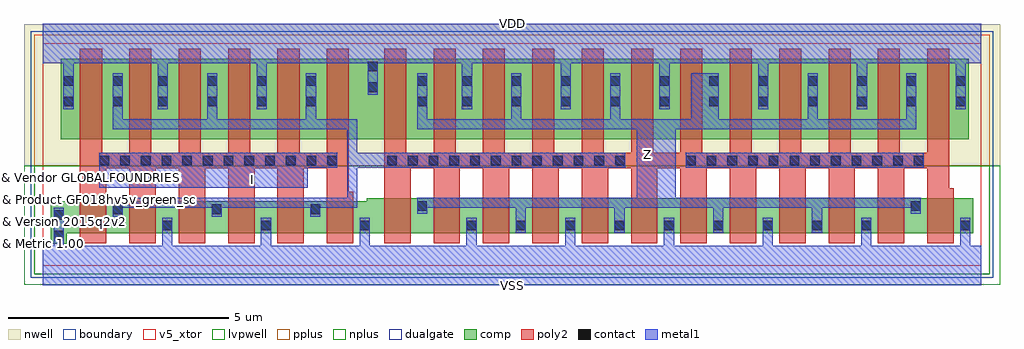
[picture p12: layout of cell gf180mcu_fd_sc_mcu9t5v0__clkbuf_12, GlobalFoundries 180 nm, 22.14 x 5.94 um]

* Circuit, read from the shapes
.subckt gf180mcu_fd_sc_mcu9t5v0__clkbuf_12 I VDD VSS Z
XM1 n1 I VSS VSUBS nfet_05v0 w=0.73u l=0.6u m=6
XM2 Z n1 VSS VSUBS nfet_05v0 w=0.8u l=0.6u m=12
XM3 n1 I VDD n2 pfet_05v0 w=1.83u l=0.5u m=6
XM4 Z n1 VDD n2 pfet_05v0 w=1.83u l=0.5u m=12
.ends

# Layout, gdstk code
import gdstk
lib = gdstk.Library(unit=1e-6, precision=1e-09)
def R(c, l, rs):  # rectangles x0, y0, x1, y1
    for r in rs: c.add(gdstk.rectangle(r[:2], r[2:], *l))
def P(c, l, *ps):  # polygons
    for p in ps: c.add(gdstk.Polygon(p, *l))
boundary = (0, 0)
nwell = (21, 0)
comp = (22, 0)
poly2 = (30, 0)
pplus = (31, 0)
nplus = (32, 0)
contact = (33, 0)
metal1 = (34, 0)
dualgate = (55, 0)
v5_xtor = (112, 1)
lvpwell = (204, 0)

gf180mcu_fd_sc_mcu9t5v0_ = lib.new_cell('gf180mcu_fd_sc_mcu9t5v0__clkbuf_12')
R(gf180mcu_fd_sc_mcu9t5v0_, boundary, [(0,0,21.28,5.04), (0,0,21.28,5.04)])
R(gf180mcu_fd_sc_mcu9t5v0_, nwell, [(-0.43,2.265,21.71,5.47), (-0.43,2.265,21.71,5.47)])
R(gf180mcu_fd_sc_mcu9t5v0_, comp, [(0.4,2.865,21,4.695), (0.4,2.865,21,4.695)])
P(gf180mcu_fd_sc_mcu9t5v0_, comp, [(0.18,0.495),(0.18,1.46),(7.34,1.46),(7.34,1.53),(21.1,1.53),(21.1,0.73),(0.54,0.73),(0.54,0.495)],
  [(0.18,0.495),(0.18,1.46),(7.34,1.46),(7.34,1.53),(21.1,1.53),(21.1,0.73),(0.54,0.73),(0.54,0.495)])
P(gf180mcu_fd_sc_mcu9t5v0_, poly2, [(0.84,0.51),(0.84,4.915),(1.34,4.915),(1.34,2.565),(1.96,2.565),(1.96,4.915),(2.46,4.915),(2.46,2.565),(3.08,2.565),(3.08,4.915),(3.58,4.915),(3.58,2.565),(4.2,2.565),(4.2,4.915),(4.7,4.915),(4.7,2.565),(5.32,2.565),(5.32,4.915),(5.82,4.915),(5.82,2.565),(6.44,2.565),(6.44,4.915),(6.94,4.915),(6.94,1.68),(7.04,1.68),(7.04,0.51),(6.44,0.51),(6.44,2.205),(5.92,2.205),(5.92,0.51),(5.32,0.51),(5.32,2.205),(4.8,2.205),(4.8,0.51),(4.2,0.51),(4.2,2.205),(3.68,2.205),(3.68,0.51),(3.08,0.51),(3.08,2.205),(2.56,2.205),(2.56,0.51),(1.96,0.51),(1.96,2.205),(1.44,2.205),(1.44,0.51)],
  [(7.74,0.51),(7.74,4.915),(8.24,4.915),(8.24,2.565),(8.86,2.565),(8.86,4.915),(9.36,4.915),(9.36,2.565),(9.98,2.565),(9.98,4.915),(10.48,4.915),(10.48,2.565),(11.1,2.565),(11.1,4.915),(11.6,4.915),(11.6,2.565),(12.22,2.565),(12.22,4.915),(12.72,4.915),(12.72,2.565),(13.34,2.565),(13.34,4.915),(13.84,4.915),(13.84,2.565),(14.46,2.565),(14.46,4.915),(14.96,4.915),(14.96,2.565),(15.58,2.565),(15.58,4.915),(16.08,4.915),(16.08,2.565),(16.7,2.565),(16.7,4.915),(17.2,4.915),(17.2,2.565),(17.82,2.565),(17.82,4.915),(18.32,4.915),(18.32,2.565),(18.94,2.565),(18.94,4.915),(19.44,4.915),(19.44,2.565),(20.06,2.565),(20.06,4.915),(20.56,4.915),(20.56,1.75),(20.66,1.75),(20.66,0.51),(20.06,0.51),(20.06,2.205),(19.54,2.205),(19.54,0.51),(18.94,0.51),(18.94,2.205),(18.42,2.205),(18.42,0.51),(17.82,0.51),(17.82,2.205),(17.3,2.205),(17.3,0.51),(16.7,0.51),(16.7,2.205),(16.18,2.205),(16.18,0.51),(15.58,0.51),(15.58,2.205),(15.06,2.205),(15.06,0.51),(14.46,0.51),(14.46,2.205),(13.94,2.205),(13.94,0.51),(13.34,0.51),(13.34,2.205),(12.82,2.205),(12.82,0.51),(12.22,0.51),(12.22,2.205),(11.7,2.205),(11.7,0.51),(11.1,0.51),(11.1,2.205),(10.58,2.205),(10.58,0.51),(9.98,0.51),(9.98,2.205),(9.46,2.205),(9.46,0.51),(8.86,0.51),(8.86,2.205),(8.34,2.205),(8.34,0.51)],
  [(0.84,0.51),(0.84,4.915),(1.34,4.915),(1.34,2.565),(1.96,2.565),(1.96,4.915),(2.46,4.915),(2.46,2.565),(3.08,2.565),(3.08,4.915),(3.58,4.915),(3.58,2.565),(4.2,2.565),(4.2,4.915),(4.7,4.915),(4.7,2.565),(5.32,2.565),(5.32,4.915),(5.82,4.915),(5.82,2.565),(6.44,2.565),(6.44,4.915),(6.94,4.915),(6.94,1.68),(7.04,1.68),(7.04,0.51),(6.44,0.51),(6.44,2.205),(5.92,2.205),(5.92,0.51),(5.32,0.51),(5.32,2.205),(4.8,2.205),(4.8,0.51),(4.2,0.51),(4.2,2.205),(3.68,2.205),(3.68,0.51),(3.08,0.51),(3.08,2.205),(2.56,2.205),(2.56,0.51),(1.96,0.51),(1.96,2.205),(1.44,2.205),(1.44,0.51)],
  [(7.74,0.51),(7.74,4.915),(8.24,4.915),(8.24,2.565),(8.86,2.565),(8.86,4.915),(9.36,4.915),(9.36,2.565),(9.98,2.565),(9.98,4.915),(10.48,4.915),(10.48,2.565),(11.1,2.565),(11.1,4.915),(11.6,4.915),(11.6,2.565),(12.22,2.565),(12.22,4.915),(12.72,4.915),(12.72,2.565),(13.34,2.565),(13.34,4.915),(13.84,4.915),(13.84,2.565),(14.46,2.565),(14.46,4.915),(14.96,4.915),(14.96,2.565),(15.58,2.565),(15.58,4.915),(16.08,4.915),(16.08,2.565),(16.7,2.565),(16.7,4.915),(17.2,4.915),(17.2,2.565),(17.82,2.565),(17.82,4.915),(18.32,4.915),(18.32,2.565),(18.94,2.565),(18.94,4.915),(19.44,4.915),(19.44,2.565),(20.06,2.565),(20.06,4.915),(20.56,4.915),(20.56,1.75),(20.66,1.75),(20.66,0.51),(20.06,0.51),(20.06,2.205),(19.54,2.205),(19.54,0.51),(18.94,0.51),(18.94,2.205),(18.42,2.205),(18.42,0.51),(17.82,0.51),(17.82,2.205),(17.3,2.205),(17.3,0.51),(16.7,0.51),(16.7,2.205),(16.18,2.205),(16.18,0.51),(15.58,0.51),(15.58,2.205),(15.06,2.205),(15.06,0.51),(14.46,0.51),(14.46,2.205),(13.94,2.205),(13.94,0.51),(13.34,0.51),(13.34,2.205),(12.82,2.205),(12.82,0.51),(12.22,0.51),(12.22,2.205),(11.7,2.205),(11.7,0.51),(11.1,0.51),(11.1,2.205),(10.58,2.205),(10.58,0.51),(9.98,0.51),(9.98,2.205),(9.46,2.205),(9.46,0.51),(8.86,0.51),(8.86,2.205),(8.34,2.205),(8.34,0.51)])
R(gf180mcu_fd_sc_mcu9t5v0_, pplus, [(-0.2,2.265,21.48,5.24), (-0.2,2.265,21.48,5.24)])
R(gf180mcu_fd_sc_mcu9t5v0_, nplus, [(-0.2,-0.2,21.48,2.265), (-0.2,-0.2,21.48,2.265)])
R(gf180mcu_fd_sc_mcu9t5v0_, contact, [(0.25,0.565,0.47,0.785), (0.25,0.565,0.47,0.785), (2.71,0.8,2.93,1.02), (2.71,0.8,2.93,1.02), (4.95,0.8,5.17,1.02), (4.95,0.8,5.17,1.02), (7.19,0.8,7.41,1.02), (7.19,0.8,7.41,1.02), (9.61,0.8,9.83,1.02), (9.61,0.8,9.83,1.02), (10.73,0.8,10.95,1.02), (10.73,0.8,10.95,1.02), (11.85,0.8,12.07,1.02), (11.85,0.8,12.07,1.02), (12.97,0.8,13.19,1.02), (12.97,0.8,13.19,1.02), (14.09,0.8,14.31,1.02), (14.09,0.8,14.31,1.02), (15.21,0.8,15.43,1.02), (15.21,0.8,15.43,1.02), (16.33,0.8,16.55,1.02), (16.33,0.8,16.55,1.02), (17.45,0.8,17.67,1.02), (17.45,0.8,17.67,1.02), (18.57,0.8,18.79,1.02), (18.57,0.8,18.79,1.02), (20.81,0.8,21.03,1.02), (20.81,0.8,21.03,1.02), (0.25,1.035,0.47,1.255), (0.25,1.035,0.47,1.255), (1.59,1.17,1.81,1.39), (1.59,1.17,1.81,1.39), (3.83,1.17,4.05,1.39), (3.83,1.17,4.05,1.39), (6.07,1.17,6.29,1.39), (6.07,1.17,6.29,1.39), (8.49,1.24,8.71,1.46), (8.49,1.24,8.71,1.46), (19.69,1.24,19.91,1.46), (19.69,1.24,19.91,1.46), (1.28,2.275,1.5,2.495), (1.28,2.275,1.5,2.495), (1.75,2.275,1.97,2.495), (1.75,2.275,1.97,2.495), (2.22,2.275,2.44,2.495), (2.22,2.275,2.44,2.495), (2.69,2.275,2.91,2.495), (2.69,2.275,2.91,2.495), (3.16,2.275,3.38,2.495), (3.16,2.275,3.38,2.495), (3.63,2.275,3.85,2.495), (3.63,2.275,3.85,2.495), (4.1,2.275,4.32,2.495), (4.1,2.275,4.32,2.495), (4.57,2.275,4.79,2.495), (4.57,2.275,4.79,2.495), (5.04,2.275,5.26,2.495), (5.04,2.275,5.26,2.495), (5.51,2.275,5.73,2.495), (5.51,2.275,5.73,2.495), (5.98,2.275,6.2,2.495), (5.98,2.275,6.2,2.495), (6.45,2.275,6.67,2.495), (6.45,2.275,6.67,2.495), (7.81,2.275,8.03,2.495), (7.81,2.275,8.03,2.495), (8.28,2.275,8.5,2.495), (8.28,2.275,8.5,2.495), (8.75,2.275,8.97,2.495), (8.75,2.275,8.97,2.495), (9.22,2.275,9.44,2.495), (9.22,2.275,9.44,2.495), (9.69,2.275,9.91,2.495), (9.69,2.275,9.91,2.495), (10.16,2.275,10.38,2.495), (10.16,2.275,10.38,2.495), (10.63,2.275,10.85,2.495), (10.63,2.275,10.85,2.495), (11.1,2.275,11.32,2.495), (11.1,2.275,11.32,2.495), (11.57,2.275,11.79,2.495), (11.57,2.275,11.79,2.495), (12.04,2.275,12.26,2.495), (12.04,2.275,12.26,2.495), (12.51,2.275,12.73,2.495), (12.51,2.275,12.73,2.495), (12.98,2.275,13.2,2.495), (12.98,2.275,13.2,2.495), (14.585,2.275,14.805,2.495), (14.585,2.275,14.805,2.495), (15.055,2.275,15.275,2.495), (15.055,2.275,15.275,2.495), (15.525,2.275,15.745,2.495), (15.525,2.275,15.745,2.495), (15.995,2.275,16.215,2.495), (15.995,2.275,16.215,2.495), (16.465,2.275,16.685,2.495), (16.465,2.275,16.685,2.495), (16.935,2.275,17.155,2.495), (16.935,2.275,17.155,2.495), (17.405,2.275,17.625,2.495), (17.405,2.275,17.625,2.495), (17.875,2.275,18.095,2.495), (17.875,2.275,18.095,2.495), (18.345,2.275,18.565,2.495), (18.345,2.275,18.565,2.495), (18.815,2.275,19.035,2.495), (18.815,2.275,19.035,2.495), (19.285,2.275,19.505,2.495), (19.285,2.275,19.505,2.495), (19.755,2.275,19.975,2.495), (19.755,2.275,19.975,2.495), (0.47,3.61,0.69,3.83), (0.47,3.61,0.69,3.83), (1.59,3.61,1.81,3.83), (1.59,3.61,1.81,3.83), (2.61,3.61,2.83,3.83), (2.61,3.61,2.83,3.83), (3.73,3.61,3.95,3.83), (3.73,3.61,3.95,3.83), (4.85,3.61,5.07,3.83), (4.85,3.61,5.07,3.83), (5.97,3.61,6.19,3.83), (5.97,3.61,6.19,3.83), (8.49,3.61,8.71,3.83), (8.49,3.61,8.71,3.83), (9.51,3.61,9.73,3.83), (9.51,3.61,9.73,3.83), (10.63,3.61,10.85,3.83), (10.63,3.61,10.85,3.83), (11.75,3.61,11.97,3.83), (11.75,3.61,11.97,3.83), (12.87,3.61,13.09,3.83), (12.87,3.61,13.09,3.83), (13.99,3.61,14.21,3.83), (13.99,3.61,14.21,3.83), (15.11,3.61,15.33,3.83), (15.11,3.61,15.33,3.83), (16.23,3.61,16.45,3.83), (16.23,3.61,16.45,3.83), (17.35,3.61,17.57,3.83), (17.35,3.61,17.57,3.83), (18.47,3.61,18.69,3.83), (18.47,3.61,18.69,3.83), (19.59,3.61,19.81,3.83), (19.59,3.61,19.81,3.83), (20.71,3.61,20.93,3.83), (20.71,3.61,20.93,3.83), (7.37,3.935,7.59,4.155), (7.37,3.935,7.59,4.155), (0.47,4.08,0.69,4.3), (0.47,4.08,0.69,4.3), (1.59,4.08,1.81,4.3), (1.59,4.08,1.81,4.3), (2.61,4.08,2.83,4.3), (2.61,4.08,2.83,4.3), (3.73,4.08,3.95,4.3), (3.73,4.08,3.95,4.3), (4.85,4.08,5.07,4.3), (4.85,4.08,5.07,4.3), (5.97,4.08,6.19,4.3), (5.97,4.08,6.19,4.3), (8.49,4.08,8.71,4.3), (8.49,4.08,8.71,4.3), (9.51,4.08,9.73,4.3), (9.51,4.08,9.73,4.3), (10.63,4.08,10.85,4.3), (10.63,4.08,10.85,4.3), (11.75,4.08,11.97,4.3), (11.75,4.08,11.97,4.3), (12.87,4.08,13.09,4.3), (12.87,4.08,13.09,4.3), (13.99,4.08,14.21,4.3), (13.99,4.08,14.21,4.3), (15.11,4.08,15.33,4.3), (15.11,4.08,15.33,4.3), (16.23,4.08,16.45,4.3), (16.23,4.08,16.45,4.3), (17.35,4.08,17.57,4.3), (17.35,4.08,17.57,4.3), (18.47,4.08,18.69,4.3), (18.47,4.08,18.69,4.3), (19.59,4.08,19.81,4.3), (19.59,4.08,19.81,4.3), (20.71,4.08,20.93,4.3), (20.71,4.08,20.93,4.3), (7.37,4.405,7.59,4.625), (7.37,4.405,7.59,4.625)])
R(gf180mcu_fd_sc_mcu9t5v0_, metal1, [(14.58,2.215,19.98,2.555), (14.58,2.215,19.98,2.555)])
P(gf180mcu_fd_sc_mcu9t5v0_, metal1, [(1.275,1.77),(1.275,2.555),(6.675,2.555),(6.675,2.215),(6.01,2.215),(6.01,1.77)],
  [(1.585,1.11),(1.585,1.54),(6.905,1.54),(6.905,3.09),(1.585,3.09),(1.585,4.36),(1.815,4.36),(1.815,3.32),(3.725,3.32),(3.725,4.36),(3.955,4.36),(3.955,3.32),(5.965,3.32),(5.965,4.36),(6.195,4.36),(6.195,3.32),(7.135,3.32),(7.135,2.555),(13.205,2.555),(13.205,2.215),(7.135,2.215),(7.135,1.31),(6.295,1.31),(6.295,1.11),(6.065,1.11),(6.065,1.31),(4.055,1.31),(4.055,1.11),(3.825,1.11),(3.825,1.31),(1.815,1.31),(1.815,1.11)],
  [(10.725,0.74),(10.725,1.31),(8.715,1.31),(8.715,1.18),(8.485,1.18),(8.485,1.54),(13.465,1.54),(13.465,3.09),(8.485,3.09),(8.485,4.36),(8.715,4.36),(8.715,3.32),(10.625,3.32),(10.625,4.36),(10.855,4.36),(10.855,3.32),(12.865,3.32),(12.865,4.36),(13.095,4.36),(13.095,3.32),(14.71,3.32),(14.71,4.36),(15.335,4.36),(15.335,3.32),(17.345,3.32),(17.345,4.36),(17.575,4.36),(17.575,3.32),(19.585,3.32),(19.585,4.36),(19.815,4.36),(19.815,3.09),(14.35,3.09),(14.35,1.54),(19.915,1.54),(19.915,1.18),(19.685,1.18),(19.685,1.31),(17.675,1.31),(17.675,0.74),(17.445,0.74),(17.445,1.31),(15.435,1.31),(15.435,0.74),(15.205,0.74),(15.205,1.31),(13.195,1.31),(13.195,0.74),(12.965,0.74),(12.965,1.31),(10.955,1.31),(10.955,0.74)],
  [(0,-0.45),(0,0.45),(0.245,0.45),(0.245,1.315),(0.475,1.315),(0.475,0.45),(2.705,0.45),(2.705,1.08),(2.935,1.08),(2.935,0.45),(4.945,0.45),(4.945,1.08),(5.175,1.08),(5.175,0.45),(7.185,0.45),(7.185,1.08),(7.415,1.08),(7.415,0.45),(9.605,0.45),(9.605,1.08),(9.835,1.08),(9.835,0.45),(11.845,0.45),(11.845,1.08),(12.075,1.08),(12.075,0.45),(14.085,0.45),(14.085,1.08),(14.315,1.08),(14.315,0.45),(16.325,0.45),(16.325,1.08),(16.555,1.08),(16.555,0.45),(18.565,0.45),(18.565,1.08),(18.795,1.08),(18.795,0.45),(20.805,0.45),(20.805,1.08),(21.035,1.08),(21.035,0.45),(21.28,0.45),(21.28,-0.45)],
  [(0.465,3.55),(0.465,4.59),(0,4.59),(0,5.49),(21.28,5.49),(21.28,4.59),(20.935,4.59),(20.935,3.55),(20.705,3.55),(20.705,4.59),(18.695,4.59),(18.695,3.55),(18.465,3.55),(18.465,4.59),(16.455,4.59),(16.455,3.55),(16.225,3.55),(16.225,4.59),(14.215,4.59),(14.215,3.55),(13.985,3.55),(13.985,4.59),(11.975,4.59),(11.975,3.55),(11.745,3.55),(11.745,4.59),(9.735,4.59),(9.735,3.55),(9.505,3.55),(9.505,4.59),(7.595,4.59),(7.595,3.875),(7.365,3.875),(7.365,4.59),(5.075,4.59),(5.075,3.55),(4.845,3.55),(4.845,4.59),(2.835,4.59),(2.835,3.55),(2.605,3.55),(2.605,4.59),(0.695,4.59),(0.695,3.55)],
  [(1.275,1.77),(1.275,2.555),(6.675,2.555),(6.675,2.215),(6.01,2.215),(6.01,1.77)],
  [(1.585,1.11),(1.585,1.54),(6.905,1.54),(6.905,3.09),(1.585,3.09),(1.585,4.36),(1.815,4.36),(1.815,3.32),(3.725,3.32),(3.725,4.36),(3.955,4.36),(3.955,3.32),(5.965,3.32),(5.965,4.36),(6.195,4.36),(6.195,3.32),(7.135,3.32),(7.135,2.555),(13.205,2.555),(13.205,2.215),(7.135,2.215),(7.135,1.31),(6.295,1.31),(6.295,1.11),(6.065,1.11),(6.065,1.31),(4.055,1.31),(4.055,1.11),(3.825,1.11),(3.825,1.31),(1.815,1.31),(1.815,1.11)],
  [(10.725,0.74),(10.725,1.31),(8.715,1.31),(8.715,1.18),(8.485,1.18),(8.485,1.54),(13.465,1.54),(13.465,3.09),(8.485,3.09),(8.485,4.36),(8.715,4.36),(8.715,3.32),(10.625,3.32),(10.625,4.36),(10.855,4.36),(10.855,3.32),(12.865,3.32),(12.865,4.36),(13.095,4.36),(13.095,3.32),(14.71,3.32),(14.71,4.36),(15.335,4.36),(15.335,3.32),(17.345,3.32),(17.345,4.36),(17.575,4.36),(17.575,3.32),(19.585,3.32),(19.585,4.36),(19.815,4.36),(19.815,3.09),(14.35,3.09),(14.35,1.54),(19.915,1.54),(19.915,1.18),(19.685,1.18),(19.685,1.31),(17.675,1.31),(17.675,0.74),(17.445,0.74),(17.445,1.31),(15.435,1.31),(15.435,0.74),(15.205,0.74),(15.205,1.31),(13.195,1.31),(13.195,0.74),(12.965,0.74),(12.965,1.31),(10.955,1.31),(10.955,0.74)],
  [(0,-0.45),(0,0.45),(0.245,0.45),(0.245,1.315),(0.475,1.315),(0.475,0.45),(2.705,0.45),(2.705,1.08),(2.935,1.08),(2.935,0.45),(4.945,0.45),(4.945,1.08),(5.175,1.08),(5.175,0.45),(7.185,0.45),(7.185,1.08),(7.415,1.08),(7.415,0.45),(9.605,0.45),(9.605,1.08),(9.835,1.08),(9.835,0.45),(11.845,0.45),(11.845,1.08),(12.075,1.08),(12.075,0.45),(14.085,0.45),(14.085,1.08),(14.315,1.08),(14.315,0.45),(16.325,0.45),(16.325,1.08),(16.555,1.08),(16.555,0.45),(18.565,0.45),(18.565,1.08),(18.795,1.08),(18.795,0.45),(20.805,0.45),(20.805,1.08),(21.035,1.08),(21.035,0.45),(21.28,0.45),(21.28,-0.45)],
  [(0.465,3.55),(0.465,4.59),(0,4.59),(0,5.49),(21.28,5.49),(21.28,4.59),(20.935,4.59),(20.935,3.55),(20.705,3.55),(20.705,4.59),(18.695,4.59),(18.695,3.55),(18.465,3.55),(18.465,4.59),(16.455,4.59),(16.455,3.55),(16.225,3.55),(16.225,4.59),(14.215,4.59),(14.215,3.55),(13.985,3.55),(13.985,4.59),(11.975,4.59),(11.975,3.55),(11.745,3.55),(11.745,4.59),(9.735,4.59),(9.735,3.55),(9.505,3.55),(9.505,4.59),(7.595,4.59),(7.595,3.875),(7.365,3.875),(7.365,4.59),(5.075,4.59),(5.075,3.55),(4.845,3.55),(4.845,4.59),(2.835,4.59),(2.835,3.55),(2.605,3.55),(2.605,4.59),(0.695,4.59),(0.695,3.55)])
R(gf180mcu_fd_sc_mcu9t5v0_, dualgate, [(-0.28,-0.28,21.56,5.32), (-0.28,-0.28,21.56,5.32)])
R(gf180mcu_fd_sc_mcu9t5v0_, v5_xtor, [(0,0,21.28,5.04), (0,0,21.28,5.04)])
R(gf180mcu_fd_sc_mcu9t5v0_, lvpwell, [(-0.43,-0.43,21.71,2.265), (-0.43,-0.43,21.71,2.265)])
gf180mcu_fd_sc_mcu9t5v0_.add(gdstk.Label('I', (4.76,1.96), layer=34, texttype=10))
gf180mcu_fd_sc_mcu9t5v0_.add(gdstk.Label('VDD', (10.64,5.49), layer=34, texttype=10))
gf180mcu_fd_sc_mcu9t5v0_.add(gdstk.Label('VSS', (10.64,-0.45), layer=34, texttype=10))
gf180mcu_fd_sc_mcu9t5v0_.add(gdstk.Label('Z', (13.72,2.52), layer=34, texttype=10))
gf180mcu_fd_sc_mcu9t5v0_.add(gdstk.Label('I', (4.76,1.96), layer=34, texttype=10))
gf180mcu_fd_sc_mcu9t5v0_.add(gdstk.Label('VDD', (10.64,5.49), layer=34, texttype=10))
gf180mcu_fd_sc_mcu9t5v0_.add(gdstk.Label('VSS', (10.64,-0.45), layer=34, texttype=10))
gf180mcu_fd_sc_mcu9t5v0_.add(gdstk.Label('Z', (13.72,2.52), layer=34, texttype=10))
gf180mcu_fd_sc_mcu9t5v0_.add(gdstk.Label('& Vendor GLOBALFOUNDRIES', (0,2), layer=63, texttype=63))
gf180mcu_fd_sc_mcu9t5v0_.add(gdstk.Label('& Product GF018hv5v_green_sc9', (0,1.5), layer=63, texttype=63))
gf180mcu_fd_sc_mcu9t5v0_.add(gdstk.Label('& Version 2015q2v2', (0,1), layer=63, texttype=63))
gf180mcu_fd_sc_mcu9t5v0_.add(gdstk.Label('& Metric 1.00', (0,0.5), layer=63, texttype=63))
gf180mcu_fd_sc_mcu9t5v0_.add(gdstk.Label('& Vendor GLOBALFOUNDRIES', (0,2), layer=63, texttype=63))
gf180mcu_fd_sc_mcu9t5v0_.add(gdstk.Label('& Product GF018hv5v_green_sc9', (0,1.5), layer=63, texttype=63))
gf180mcu_fd_sc_mcu9t5v0_.add(gdstk.Label('& Version 2015q2v2', (0,1), layer=63, texttype=63))
gf180mcu_fd_sc_mcu9t5v0_.add(gdstk.Label('& Metric 1.00', (0,0.5), layer=63, texttype=63))

lib.write_gds('gf180mcu_fd_sc_mcu9t5v0__clkbuf_12.gds')
